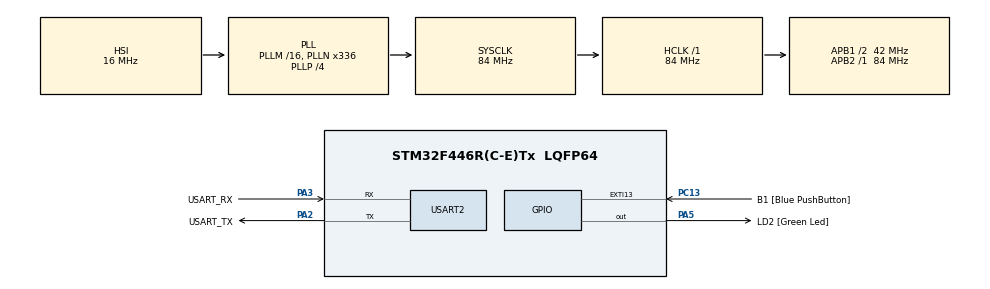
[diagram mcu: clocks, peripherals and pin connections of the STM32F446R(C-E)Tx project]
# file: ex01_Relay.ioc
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Mcu.Family=STM32F4
Mcu.Name=STM32F446R(C-E)Tx
Mcu.Package=LQFP64
NVIC.PriorityGroup=NVIC_PRIORITYGROUP_0
PA13.GPIO_Label=TMS
PA13.Mode=Serial_Wire
PA13.Signal=SYS_JTMS-SWDIO
PA14.GPIO_Label=TCK
PA14.Mode=Serial_Wire
PA14.Signal=SYS_JTCK-SWCLK
PA2.GPIO_Label=USART_TX
PA2.Mode=Asynchronous
PA2.Signal=USART2_TX
PA3.GPIO_Label=USART_RX
PA3.Mode=Asynchronous
PA3.Signal=USART2_RX
PA5.GPIO_Label=LD2 [Green Led]
PA5.Signal=GPIO_Output
PB3.GPIO_Label=SWO
PB3.Signal=SYS_JTDO-SWO
PC13.GPIO_Label=B1 [Blue PushButton]
PC13.GPIO_ModeDefaultEXTI=GPIO_MODE_IT_FALLING
PC13.Signal=GPXTI13
PC14-OSC32_IN.Mode=LSE-External-Oscillator
PC14-OSC32_IN.Signal=RCC_OSC32_IN
PC15-OSC32_OUT.Mode=LSE-External-Oscillator
PC15-OSC32_OUT.Signal=RCC_OSC32_OUT
PH0-OSC_IN.Mode=HSE-External-Oscillator
PH0-OSC_IN.Signal=RCC_OSC_IN
PH1-OSC_OUT.Mode=HSE-External-Oscillator
PH1-OSC_OUT.Signal=RCC_OSC_OUT
ProjectManager.HeapSize=0x200
ProjectManager.StackSize=0x400
ProjectManager.TargetToolchain=STM32CubeIDE
RCC.48MHZClocksFreq_Value=84000000
RCC.AHBFreq_Value=84000000
RCC.APB1CLKDivider=RCC_HCLK_DIV2
RCC.APB1Freq_Value=42000000
RCC.APB1TimFreq_Value=84000000
RCC.APB2Freq_Value=84000000
RCC.APB2TimFreq_Value=84000000
RCC.CortexFreq_Value=84000000
RCC.FLatency-AdvancedSettings=FLASH_LATENCY_2
RCC.HCLKFreq_Value=84000000
RCC.HSE_VALUE=8000000
RCC.HSI_VALUE=16000000
RCC.PLLN=336
RCC.PLLP=RCC_PLLP_DIV4
RCC.SYSCLKFreq_VALUE=84000000
RCC.SYSCLKSource=RCC_SYSCLKSOURCE_PLLCLK
RCC.USBFreq_Value=168000000
RCC.VCOOutputFreq_Value=336000000
USART2.VirtualMode=VM_ASYNC
board=NUCLEO-F446RE

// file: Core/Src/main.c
/* USER CODE BEGIN Header */
/**
  ******************************************************************************
  * @file           : main.c
  * @brief          : Main program body
  ******************************************************************************
  * @attention
  *
  * Copyright (c) 2022 STMicroelectronics.
  * All rights reserved.
  *
  * This software is licensed under terms that can be found in the LICENSE file
  * in the root directory of this software component.
  * If no LICENSE file comes with this software, it is provided AS-IS.
  *
  ******************************************************************************
  */
/* USER CODE END Header */
#include "main.h"

UART_HandleTypeDef huart2;

void SystemClock_Config(void);
static void MX_GPIO_Init(void);
static void MX_USART2_UART_Init(void);
/* USER CODE BEGIN PFP */
void relayPinsInit(void);
/* USER CODE END PFP */

int main(void)
{
  /* USER CODE BEGIN 1 */
	 relayPinsInit();
	 HAL_GPIO_WritePin(GPIOC, GPIO_PIN_0, GPIO_PIN_SET);
	 HAL_GPIO_WritePin(GPIOC, GPIO_PIN_1, GPIO_PIN_SET);

  /* USER CODE END 1 */

  /* MCU Configuration--------------------------------------------------------*/

  /* Reset of all peripherals, Initializes the Flash interface and the Systick. */
  HAL_Init();

  /* Configure the system clock */
  SystemClock_Config();

  /* Initialize all configured peripherals */
  MX_GPIO_Init();
  MX_USART2_UART_Init();

  /* Infinite loop */
  /* USER CODE BEGIN WHILE */
  while (1)
  {
	  HAL_GPIO_WritePin(GPIOC, GPIO_PIN_0, GPIO_PIN_RESET);
	  HAL_Delay(1000);
	  HAL_GPIO_WritePin(GPIOC, GPIO_PIN_1, GPIO_PIN_RESET);
	  HAL_Delay(1000);
	  HAL_GPIO_WritePin(GPIOC, GPIO_PIN_0, GPIO_PIN_SET);
	  HAL_Delay(1000);
	  HAL_GPIO_WritePin(GPIOC, GPIO_PIN_1, GPIO_PIN_SET);
	  HAL_Delay(1000);
    /* USER CODE END WHILE */

  }
}

void SystemClock_Config(void)
{
  RCC_OscInitTypeDef RCC_OscInitStruct = {0};
  RCC_ClkInitTypeDef RCC_ClkInitStruct = {0};

  /** Configure the main internal regulator output voltage
  */
  __HAL_RCC_PWR_CLK_ENABLE();
  __HAL_PWR_VOLTAGESCALING_CONFIG(PWR_REGULATOR_VOLTAGE_SCALE3);

  /** Initializes the RCC Oscillators according to the specified parameters
  * in the RCC_OscInitTypeDef structure.
  */
  RCC_OscInitStruct.OscillatorType = RCC_OSCILLATORTYPE_HSI;
  RCC_OscInitStruct.HSIState = RCC_HSI_ON;
  RCC_OscInitStruct.HSICalibrationValue = RCC_HSICALIBRATION_DEFAULT;
  RCC_OscInitStruct.PLL.PLLState = RCC_PLL_ON;
  RCC_OscInitStruct.PLL.PLLSource = RCC_PLLSOURCE_HSI;
  RCC_OscInitStruct.PLL.PLLM = 16;
  RCC_OscInitStruct.PLL.PLLN = 336;
  RCC_OscInitStruct.PLL.PLLP = RCC_PLLP_DIV4;
  RCC_OscInitStruct.PLL.PLLQ = 2;
  RCC_OscInitStruct.PLL.PLLR = 2;
  if (HAL_RCC_OscConfig(&RCC_OscInitStruct) != HAL_OK)
  {
    Error_Handler();
  }

  /** Initializes the CPU, AHB and APB buses clocks
  */
  RCC_ClkInitStruct.ClockType = RCC_CLOCKTYPE_HCLK|RCC_CLOCKTYPE_SYSCLK
                              |RCC_CLOCKTYPE_PCLK1|RCC_CLOCKTYPE_PCLK2;
  RCC_ClkInitStruct.SYSCLKSource = RCC_SYSCLKSOURCE_PLLCLK;
  RCC_ClkInitStruct.AHBCLKDivider = RCC_SYSCLK_DIV1;
  RCC_ClkInitStruct.APB1CLKDivider = RCC_HCLK_DIV2;
  RCC_ClkInitStruct.APB2CLKDivider = RCC_HCLK_DIV1;

  if (HAL_RCC_ClockConfig(&RCC_ClkInitStruct, FLASH_LATENCY_2) != HAL_OK)
  {
    Error_Handler();
  }
}

static void MX_USART2_UART_Init(void)
{

  huart2.Instance = USART2;
  huart2.Init.BaudRate = 115200;
  huart2.Init.WordLength = UART_WORDLENGTH_8B;
  huart2.Init.StopBits = UART_STOPBITS_1;
  huart2.Init.Parity = UART_PARITY_NONE;
  huart2.Init.Mode = UART_MODE_TX_RX;
  huart2.Init.HwFlowCtl = UART_HWCONTROL_NONE;
  huart2.Init.OverSampling = UART_OVERSAMPLING_16;
  if (HAL_UART_Init(&huart2) != HAL_OK)
  {
    Error_Handler();
  }

}

static void MX_GPIO_Init(void)
{
  GPIO_InitTypeDef GPIO_InitStruct = {0};

  /* GPIO Ports Clock Enable */
  __HAL_RCC_GPIOC_CLK_ENABLE();
  __HAL_RCC_GPIOH_CLK_ENABLE();
  __HAL_RCC_GPIOA_CLK_ENABLE();
  __HAL_RCC_GPIOB_CLK_ENABLE();

  /*Configure GPIO pin Output Level */
  HAL_GPIO_WritePin(LD2_GPIO_Port, LD2_Pin, GPIO_PIN_RESET);

  /*Configure GPIO pin : B1_Pin */
  GPIO_InitStruct.Pin = B1_Pin;
  GPIO_InitStruct.Mode = GPIO_MODE_IT_FALLING;
  GPIO_InitStruct.Pull = GPIO_NOPULL;
  HAL_GPIO_Init(B1_GPIO_Port, &GPIO_InitStruct);

  /*Configure GPIO pin : LD2_Pin */
  GPIO_InitStruct.Pin = LD2_Pin;
  GPIO_InitStruct.Mode = GPIO_MODE_OUTPUT_PP;
  GPIO_InitStruct.Pull = GPIO_NOPULL;
  GPIO_InitStruct.Speed = GPIO_SPEED_FREQ_LOW;
  HAL_GPIO_Init(LD2_GPIO_Port, &GPIO_InitStruct);

}

/* USER CODE BEGIN 4 */

/**
 * @brief	Inicializa GPIOs para relés
 */
void relayPinsInit(void)
{
	GPIO_InitTypeDef GPIO_InitStruct = {0};
	__HAL_RCC_GPIOC_CLK_ENABLE();

	/*Configura GPIO PC14*/
	GPIO_InitStruct.Pin = GPIO_PIN_0;
	GPIO_InitStruct.Mode = GPIO_MODE_OUTPUT_PP;
	GPIO_InitStruct.Pull = GPIO_NOPULL;
	GPIO_InitStruct.Speed = GPIO_SPEED_FREQ_LOW;
	HAL_GPIO_Init(GPIOC, &GPIO_InitStruct);

	/*Configura GPIO PC15*/
	GPIO_InitStruct.Pin = GPIO_PIN_1;
	GPIO_InitStruct.Mode = GPIO_MODE_OUTPUT_PP;
	GPIO_InitStruct.Pull = GPIO_NOPULL;
	GPIO_InitStruct.Speed = GPIO_SPEED_FREQ_LOW;
	HAL_GPIO_Init(GPIOC, &GPIO_InitStruct);
}

/* USER CODE END 4 */

void Error_Handler(void)
{
  __disable_irq();
  while (1)
  {
  }
}
